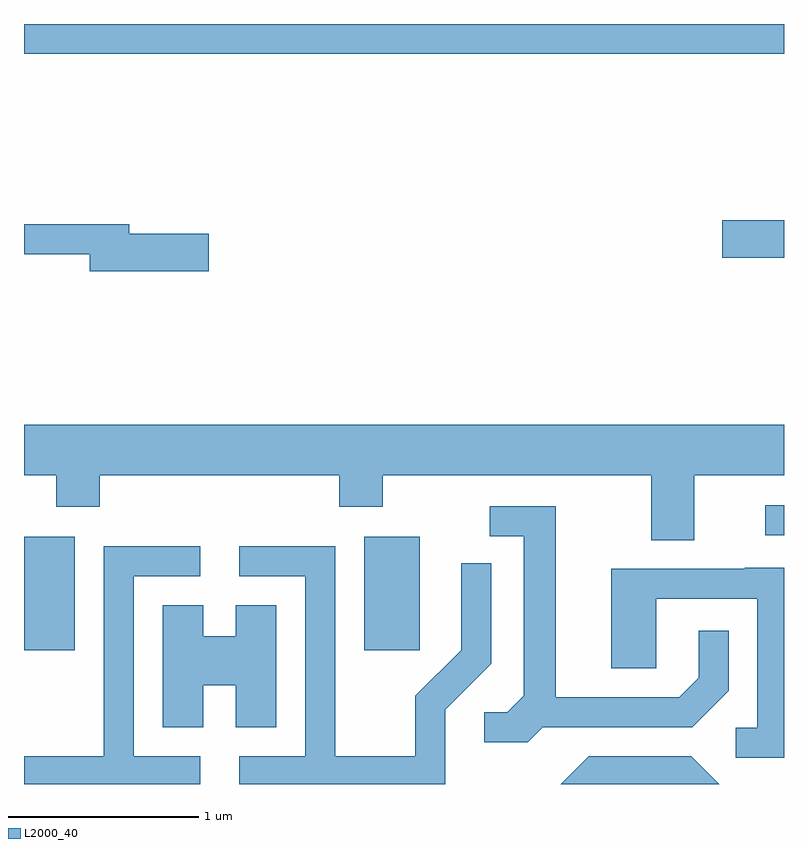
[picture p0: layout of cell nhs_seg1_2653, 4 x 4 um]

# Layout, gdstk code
import gdstk
lib = gdstk.Library(unit=1e-6, precision=1e-09)
def R(c, l, rs):  # rectangles x0, y0, x1, y1
    for r in rs: c.add(gdstk.rectangle(r[:2], r[2:], *l))
def P(c, l, *ps):  # polygons
    for p in ps: c.add(gdstk.Polygon(p, *l))
L2000_40 = (2000, 40)

nhs_seg1_2653 = lib.new_cell('nhs_seg1_2653')
R(nhs_seg1_2653, L2000_40, [(265.611,916.416,265.879,917.014), (267.401,916.416,267.694,917.014), (269.513,917.021,269.611,917.179), (269.286,918.481,269.611,918.679), (265.611,919.556,269.611,919.712)])
P(nhs_seg1_2653, L2000_40, [(266.584,918.609),(266.164,918.609),(266.164,918.659),(265.611,918.659),(265.611,918.501),(265.956,918.501),(265.956,918.411),(266.584,918.411)],
  [(265.611,917.336),(265.781,917.336),(265.781,917.171),(266.009,917.171),(266.009,917.336),(267.271,917.336),(267.271,917.171),(267.499,917.171),(267.499,917.336),(268.911,917.336),(268.911,916.996),(269.139,916.996),(269.139,917.336),(269.611,917.336),(269.611,917.604),(265.611,917.604)],
  [(268.342,916.011),(269.127,916.011),(269.319,916.204),(269.319,916.518),(269.161,916.518),(269.161,916.272),(269.059,916.169),(268.409,916.169),(268.409,917.174),(268.063,917.174),(268.063,917.016),(268.241,917.016),(268.241,916.177),(268.154,916.089),(268.033,916.089),(268.033,915.931),(268.262,915.931)],
  [(266.538,915.859),(266.189,915.859),(266.189,916.806),(266.538,916.806),(266.538,916.964),(266.031,916.964),(266.031,915.859),(265.611,915.859),(265.611,915.712),(266.538,915.712)],
  [(267.829,916.104),(268.069,916.344),(268.069,916.873),(267.911,916.873),(267.911,916.417),(267.671,916.177),(267.671,915.859),(267.249,915.859),(267.249,916.964),(266.743,916.964),(266.743,916.806),(267.091,916.806),(267.091,915.859),(266.743,915.859),(266.743,915.712),(267.829,915.712)],
  [(269.611,916.849),(269.405,916.849),(269.405,916.844),(268.701,916.844),(268.701,916.321),(268.939,916.321),(268.939,916.686),(269.471,916.686),(269.471,916.009),(269.358,916.009),(269.358,915.851),(269.611,915.851)],
  [(266.554,916.231),(266.726,916.231),(266.726,916.011),(266.939,916.011),(266.939,916.654),(266.726,916.654),(266.726,916.489),(266.554,916.489),(266.554,916.654),(266.341,916.654),(266.341,916.011),(266.554,916.011)],
  [(269.122,915.859),(268.584,915.859),(268.437,915.712),(269.269,915.712)])

lib.write_gds('nhs_seg1_2653.gds')
